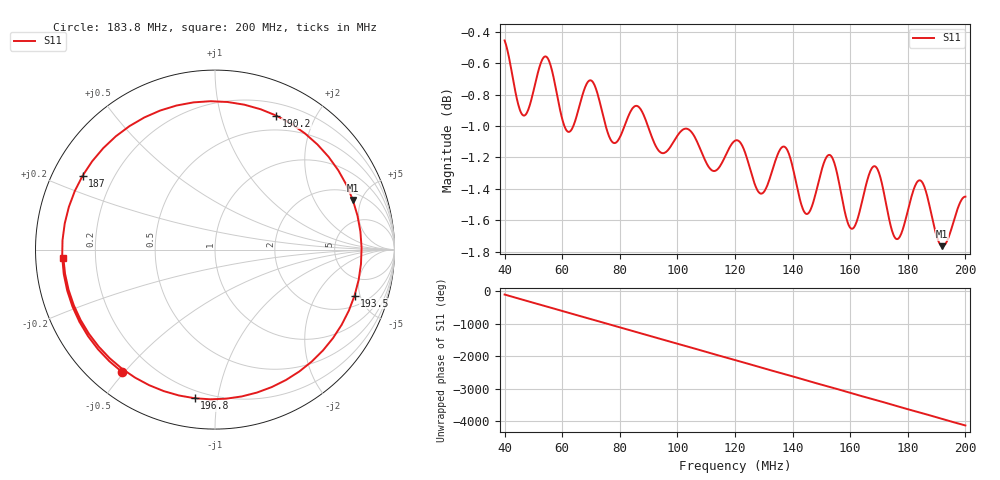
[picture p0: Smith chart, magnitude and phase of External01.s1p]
# Hz S RI R 50
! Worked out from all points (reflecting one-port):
!   641 points, 40 MHz to 200 MHz, reference 50 ohm
!   lowest |S11| = -1.8 dB at 192 MHz (marker M1), VSWR 9.88, Z = 128 + j212 ohm
!   phase of S11 starts at -109 deg and turns -4028 deg over the sweep
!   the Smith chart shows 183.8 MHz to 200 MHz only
!   S11 on the Smith chart (normalised r, x): 183.8 MHz: 0.10, -0.49; 187 MHz: 0.09, +0.26; 190.2 MHz: 0.33, +1.51; 193.5 MHz: 2.87, -4.45; 196.8 MHz: 0.16, -0.86; 200 MHz: 0.08, -0.03
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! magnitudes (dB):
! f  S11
! 40 MHz  -0.5
! 46 MHz  -0.9
! 54.25 MHz  -0.6
! 60 MHz  -1.0
! 63 MHz  -1.0
! 70 MHz  -0.7
! 80 MHz  -1.1
! 85.75 MHz  -0.9
! 94 MHz  -1.2
! 100 MHz  -1.1
! 112.8 MHz  -1.3
! 120 MHz  -1.1
! 128.8 MHz  -1.4
! 136.2 MHz  -1.1
! 140 MHz  -1.3
! 145 MHz  -1.6
! 153.2 MHz  -1.2
! 160 MHz  -1.6
! 168.2 MHz  -1.3
! 175.5 MHz  -1.7
! 180 MHz  -1.5
! 183.8 MHz  -1.3
! 187 MHz  -1.5
! 190.2 MHz  -1.7
! 192 MHz  -1.8
! 193.5 MHz  -1.7
! 196.8 MHz  -1.6
! 200 MHz  -1.4
